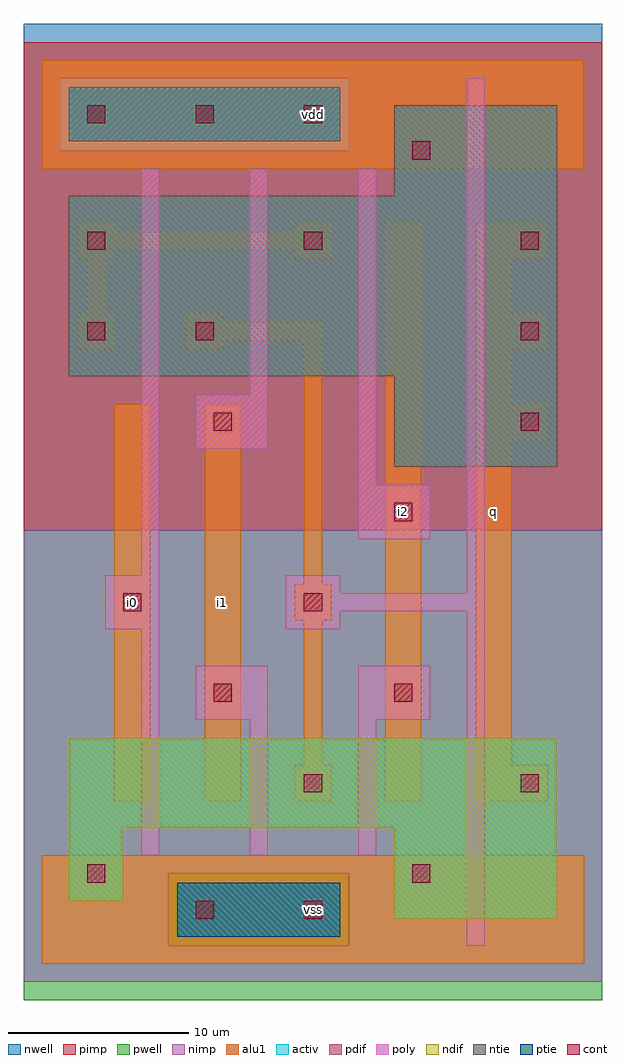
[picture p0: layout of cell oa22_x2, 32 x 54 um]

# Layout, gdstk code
import gdstk
lib = gdstk.Library(unit=1e-6, precision=1e-09)
def R(c, l, rs):  # rectangles x0, y0, x1, y1
    for r in rs: c.add(gdstk.rectangle(r[:2], r[2:], *l))
def A(c, l, x, y, w, h, nx, ny, dx, dy):  # array of equal rectangles
    R(c, l, [(x+i*dx, y+j*dy, x+i*dx+w, y+j*dy+h) for i in range(nx) for j in range(ny)])
ndif = (3, 0)
pdif = (4, 0)
ntie = (5, 0)
ptie = (6, 0)
cont = (25, 0)
pwell = (41, 0)
nwell = (42, 0)
activ = (43, 0)
pimp = (44, 0)
nimp = (45, 0)
poly = (46, 0)
alu1 = (49, 0)

oa22_x2 = lib.new_cell('oa22_x2')
R(oa22_x2, ndif, [(19.5,2.5,28.5,7.5), (1.5,3.5,4.5,7.5), (1.5,7.5,28.5,12.5)])
R(oa22_x2, pdif, [(19.5,27.5,28.5,32.5), (1.5,32.5,28.5,42.5), (19.5,42.5,28.5,47.5)])
R(oa22_x2, ntie, [(1.5,45.5,16.5,48.5)])
R(oa22_x2, ptie, [(7.5,1.5,16.5,4.5)])
A(oa22_x2, cont, 2.5, 39.5, 1, 1, 3, 1, 12, 0)
A(oa22_x2, cont, 2.5, 46.5, 1, 1, 3, 1, 6, 0)
R(oa22_x2, cont, [(8.5,2.5,9.5,3.5), (14.5,2.5,15.5,3.5), (2.5,4.5,3.5,5.5), (20.5,4.5,21.5,5.5), (14.5,9.5,15.5,10.5), (26.5,9.5,27.5,10.5), (9.5,14.5,10.5,15.5), (19.5,14.5,20.5,15.5), (4.5,19.5,5.5,20.5), (14.5,19.5,15.5,20.5), (19.5,24.5,20.5,25.5), (9.5,29.5,10.5,30.5), (26.5,29.5,27.5,30.5), (2.5,34.5,3.5,35.5), (8.5,34.5,9.5,35.5), (26.5,34.5,27.5,35.5), (20.5,44.5,21.5,45.5)])
R(oa22_x2, pwell, [(-1,-2,31,24)])
R(oa22_x2, nwell, [(-1,24,31,52)])
R(oa22_x2, activ, [(7.5,1.5,16.5,4.5), (19.5,2.5,28.5,7.5), (1.5,3.5,4.5,7.5), (1.5,7.5,28.5,12.5), (19.5,27.5,28.5,32.5), (1.5,32.5,28.5,42.5), (19.5,42.5,28.5,47.5), (1.5,45.5,16.5,48.5)])
R(oa22_x2, pimp, [(7,1,17,5), (-1,24,31,45), (-1,45,1,49), (17,45,31,49), (-1,49,31,51)])
R(oa22_x2, nimp, [(-1,-1,31,1), (-1,1,7,5), (17,1,31,5), (-1,5,31,24), (1,45,17,49)])
R(oa22_x2, poly, [(23.5,1,24.5,19.5), (5.5,6,6.5,18.5), (11.5,6,12.5,13.5), (17.5,6,18.5,13.5), (8.5,13.5,12.5,16.5), (17.5,13.5,21.5,16.5), (3.5,18.5,6.5,21.5), (13.5,18.5,16.5,19.5), (13.5,19.5,24.5,20.5), (13.5,20.5,16.5,21.5), (23.5,20.5,24.5,49), (5.5,21.5,6.5,44), (17.5,23.5,21.5,26.5), (17.5,26.5,18.5,44), (8.5,28.5,12.5,31.5), (11.5,31.5,12.5,44)])
A(oa22_x2, alu1, 24, 29, 4, 2, 1, 3, 0, 5)
R(oa22_x2, alu1, [(0,0,30,6), (4,9,6,31), (9,9,11,31), (14,9,16,11), (19,9,21,41), (24,9,28,11), (14.5,11,15.5,19), (24,11,26,29), (14,19,16,21), (14.5,21,15.5,34.5), (24,31,26,34), (2,34,4,36), (8,34,10,34.5), (8,34.5,15.5,35.5), (8,35.5,10,36), (2.5,36,3.5,39), (24,36,26,39), (2,39,4,39.5), (14,39,16,39.5), (2,39.5,16,40.5), (2,40.5,4,41), (14,40.5,16,41), (0,44,30,50)])
oa22_x2.add(gdstk.Label('i0', (5,20), layer=49, texttype=0))
oa22_x2.add(gdstk.Label('i1', (10,20), layer=49, texttype=0))
oa22_x2.add(gdstk.Label('vss', (15,3), layer=49, texttype=0))
oa22_x2.add(gdstk.Label('i2', (20,25), layer=49, texttype=0))
oa22_x2.add(gdstk.Label('vdd', (15,47), layer=49, texttype=0))
oa22_x2.add(gdstk.Label('q', (25,25), layer=49, texttype=0))

lib.write_gds('oa22_x2.gds')
